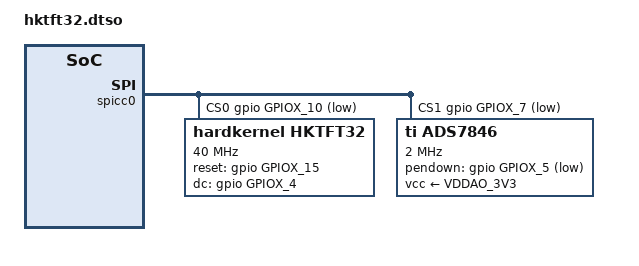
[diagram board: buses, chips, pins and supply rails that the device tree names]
/dts-v1/;
/plugin/;

#include <dt-bindings/gpio/gpio.h>
#include <dt-bindings/gpio/meson-s7d-gpio.h>
#include <dt-bindings/interrupt-controller/irq.h>

&spicc0 {
	status = "okay";
	num-cs = <2>;
	cs-gpios = <&gpio GPIOX_10 GPIO_ACTIVE_LOW>,
	           <&gpio GPIOX_7 GPIO_ACTIVE_LOW>;

	#address-cells = <1>;
	#size-cells = <0>;

	hktft32: hktft32@0 {
		status = "okay";
		compatible = "hardkernel,hktft32";
		reg = <0>;
		spi-max-frequency = <40000000>;
		rotation = <90>;
		reset-gpios = <&gpio GPIOX_15 GPIO_ACTIVE_HIGH>;
		dc-gpios = <&gpio GPIOX_4 GPIO_ACTIVE_HIGH>;
	};

	ads7846: ads7846@1 {
		status = "okay";
		compatible = "ti,ads7846";

		spi-max-frequency = <2000000>;
		reg = <1>;

		vcc-supply = <&VDDAO_3V3>;
		interrupt-parent = <&gpio_intc>;
		interrupts = <46 IRQ_TYPE_EDGE_FALLING>;  /* GPIOX_5 */
		pendown-gpio = <&gpio GPIOX_5 GPIO_ACTIVE_LOW>;

		ti,swap-xy;
		ti,x-min = /bits/ 16 <0>;
		ti,x-max = /bits/ 16 <8000>;
		ti,y-min = /bits/ 16 <0>;
		ti,y-max = /bits/ 16 <4800>;
		ti,x-plate-ohms = /bits/ 16 <40>;
		ti,pressure-max = /bits/ 16 <255>;

		linux,wakeup;
	};
};
